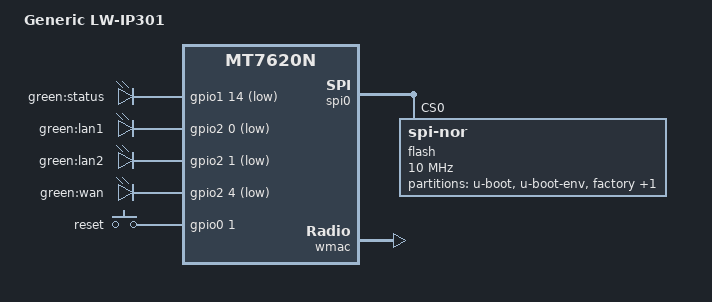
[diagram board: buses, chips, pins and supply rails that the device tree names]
#include "mt7620n.dtsi"

#include <dt-bindings/gpio/gpio.h>
#include <dt-bindings/input/input.h>

/ {
	compatible = "generic,lw-ip301", "ralink,mt7620n-soc";
	model = "Generic LW-IP301";

	aliases {
		led-boot = &led_status;
		led-failsafe = &led_status;
		led-running = &led_status;
		led-upgrade = &led_status;
		label-mac-device = &ethernet;
	};

	leds {
		compatible = "gpio-leds";

		led_status: status {
			label = "green:status";
			gpios = <&gpio1 14 GPIO_ACTIVE_LOW>;
		};

		lan1 {
			label = "green:lan1";
			gpios = <&gpio2 0 GPIO_ACTIVE_LOW>;
		};

		lan2 {
			label = "green:lan2";
			gpios = <&gpio2 1 GPIO_ACTIVE_LOW>;
		};

		wan {
			label = "green:wan";
			gpios = <&gpio2 4 GPIO_ACTIVE_LOW>;
		};
	};

	keys {
		compatible = "gpio-keys";

		reset {
			label = "reset";
			gpios = <&gpio0 1 GPIO_ACTIVE_HIGH>;
			linux,code = <KEY_RESTART>;
		};
	};
};

&gpio1 {
	status = "okay";
};

&gpio2 {
	status = "okay";
};

&gpio3 {
	status = "okay";
};

&spi0 {
	status = "okay";

	flash@0 {
		compatible = "jedec,spi-nor";
		reg = <0>;
		spi-max-frequency = <10000000>;

		partitions {
			compatible = "fixed-partitions";
			#address-cells = <1>;
			#size-cells = <1>;

			partition@0 {
				label = "u-boot";
				reg = <0x0 0x30000>;
				read-only;
			};

			partition@30000 {
				label = "u-boot-env";
				reg = <0x30000 0x10000>;
			};

			factory: partition@40000 {
				label = "factory";
				reg = <0x40000 0x10000>;
				read-only;
			};

			partition@50000 {
				compatible = "denx,uimage";
				label = "firmware";
				reg = <0x50000 0x780000>;
			};
		};
	};
};

&ethernet {
	mtd-mac-address = <&factory 0x4>;

	mediatek,portmap = "llllw";
};

&wmac {
	ralink,mtd-eeprom = <&factory 0x0>;
};

&state_default {
	default {
		groups = "ephy", "wled", "i2c", "wdt", "pa", "spi refclk";
		function = "gpio";
	};
};
